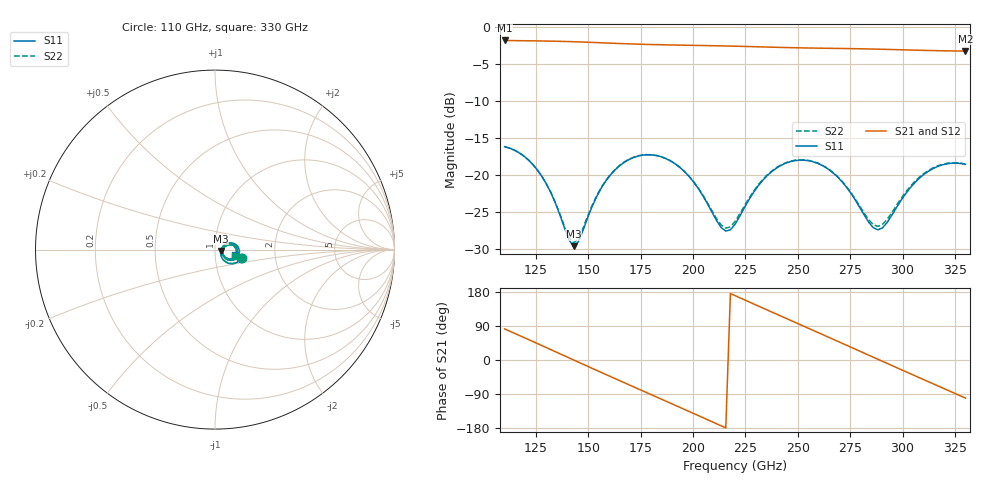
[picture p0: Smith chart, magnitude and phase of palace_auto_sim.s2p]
#  GHZ S DB R 50
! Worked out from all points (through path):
!   101 points, 110 GHz to 330 GHz, reference 50 ohm
!   highest |S21| = -1.84 dB at 110 GHz (marker M1); lowest = -3.3 dB at 330 GHz (marker M2)
!   group delay of S21, straight-line fit = 6.85 ps
!   lowest |S11| = -29.7 dB at 143 GHz (marker M3), VSWR 1.07, Z = 53.3 - j0.792 ohm
!   |S11| at or under -10 dB: start of sweep to end of sweep
!   |S22| runs from -29.2 to -16.2 dB; largest |S21 - S12| = 1.2e-13
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110  -16.21 -17.6  -1.84 82.0  -1.84 82.0  -16.22 -17.1
118.8  -17.39 -34.1  -1.88 60.4  -1.88 60.4  -17.40 -33.5
127.6  -20.14 -47.7  -1.91 38.5  -1.91 38.5  -20.13 -46.7
143  -29.66 -13.0  -2.02 -0.0  -2.02 -0.0  -29.23 -12.3
147.4  -27.56 17.5  -2.06 -11.0  -2.06 -11.0  -27.25 16.5
154  -22.93 27.6  -2.13 -27.5  -2.13 -27.5  -22.81 26.6
162.8  -19.32 18.9  -2.23 -49.2  -2.23 -49.2  -19.27 18.3
173.8  -17.47 0.7  -2.34 -76.3  -2.34 -76.3  -17.44 0.4
184.8  -17.58 -18.4  -2.43 -103.2  -2.43 -103.2  -17.57 -18.4
193.6  -19.00 -32.0  -2.47 -124.8  -2.47 -124.8  -18.98 -31.7
204.6  -22.82 -40.6  -2.53 -152.0  -2.53 -152.0  -22.73 -39.7
213.4  -27.14 -22.7  -2.58 -173.7  -2.58 -173.7  -26.81 -21.7
220  -26.71 9.2  -2.62 169.9  -2.62 169.9  -26.34 8.3
228.8  -22.41 21.9  -2.68 148.2  -2.68 148.2  -22.25 20.5
239.8  -19.10 11.3  -2.77 121.1  -2.77 121.1  -19.03 10.3
257.4  -18.26 -16.7  -2.88 77.9  -2.88 77.9  -18.22 -17.1
266.2  -19.61 -29.5  -2.91 56.3  -2.91 56.3  -19.56 -29.7
277.2  -23.32 -36.9  -2.96 29.2  -2.96 29.2  -23.19 -36.3
288.2  -27.45 -7.9  -3.02 2.0  -3.02 2.0  -26.99 -8.2
294.8  -25.52 16.1  -3.07 -14.3  -3.07 -14.3  -25.15 14.1
314.6  -19.16 9.0  -3.21 -62.8  -3.21 -62.8  -19.06 6.8
330  -18.60 -13.9  -3.28 -100.4  -3.28 -100.4  -18.57 -16.3
